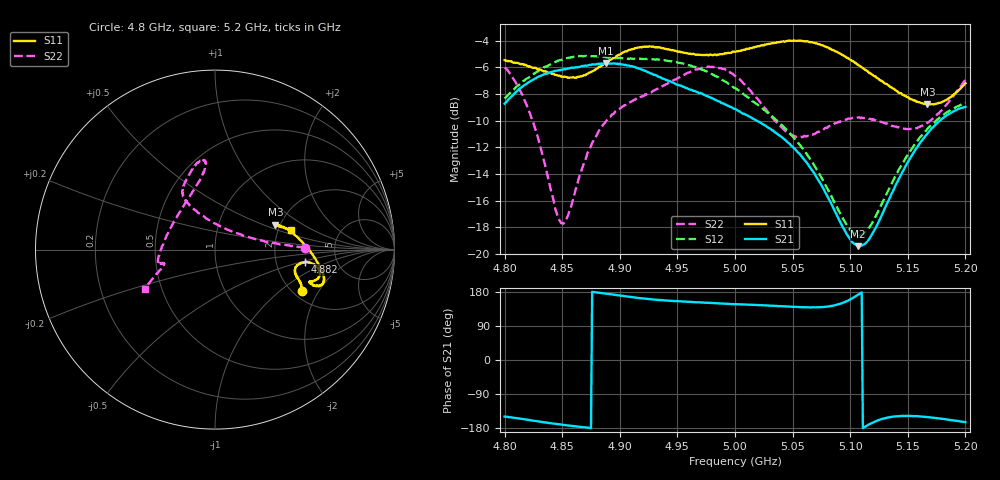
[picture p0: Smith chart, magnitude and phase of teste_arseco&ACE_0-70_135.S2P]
! Network Analyzer HP8722D
! Hewlett-Packard
! Data name: Linha & Wilkinson
! Saver's name: Rodrigo Anjos
! Comments: Teste da utilização de aquisição
! continua pelo VNA HP8722D
! Time and date: 8/5/2025 13:53
!  Frequency  S11  S21  S12  S22
# HZ  S  MA R 50
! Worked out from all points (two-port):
!   401 points, 4.8 GHz to 5.2 GHz, reference 50 ohm
!   highest |S21| = -5.67 dB at 4.888 GHz (marker M1); lowest = -19.4 dB at 5.107 GHz (marker M2)
!   |S21| within 3 dB of the highest: 4.801 GHz to 4.988 GHz (187.4 MHz wide, 3.83 % of centre)
!   lowest |S11| = -8.8 dB at 5.167 GHz (marker M3), VSWR 2.15, Z = 94.5 + j30.2 ohm
!   |S11| at or under -10 dB: nowhere
!   |S22| runs from -17.7 to -5.9 dB; largest |S21 - S12| = 1.1
!   S11 on the Smith chart (normalised r, x): 4.8 GHz: 2.23, -1.43; 4.882 GHz: 2.92, -0.54; 5.2 GHz: 2.34, +0.64
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4.8e9  0.534 -25.4  0.3663 -149.3  0.3833 10.1  0.5009 1.3
4.811e9  0.5217 -22.7  0.4094 -153.8  0.4262 8.5  0.4299 2.7
4.823e9  0.5027 -20.6  0.4469 -159.2  0.4653 7.0  0.3274 6.3
4.845e9  0.4696 -16.7  0.4874 -169.0  0.5273 3.4  0.1434 42.6
4.849e9  0.4628 -16.0  0.4915 -170.5  0.5346 2.7  0.1306 59.5
4.855e9  0.4586 -14.3  0.4965 -172.8  0.5447 1.7  0.1393 85.1
4.867e9  0.4648 -10.9  0.5075 -176.8  0.5528 -0.1  0.2072 111.7
4.882e9  0.5046 -7.9  0.518 177.6  0.5526 -1.2  0.2908 119.9
4.888e9  0.5221 -7.8  0.5208 175.2  0.5466 -1.3  0.3143 120.8
4.911e9  0.5872 -10.6  0.5061 165.8  0.5405 -0.7  0.3754 119.0
4.934e9  0.5961 -15.7  0.4618 158.0  0.5368 -1.7  0.418 112.6
4.975e9  0.5581 -18.7  0.3927 150.9  0.4857 -5.4  0.5036 98.8
5e9  0.574 -19.6  0.3498 147.2  0.4198 -5.5  0.4658 96.5
5.044e9  0.6278 -17.7  0.267 141.3  0.2943 2.8  0.2888 131.6
5.067e9  0.6229 -13.5  0.2059 139.0  0.2216 9.3  0.2806 164.6
5.096e9  0.5494 -3.7  0.1208 153.8  0.1308 34.2  0.3194 -171.5
5.107e9  0.5123 1.6  0.107 172.6  0.1173 55.2  0.3256 -167.7
5.117e9  0.4767 6.5  0.1147 -168.9  0.1264 75.0  0.3214 -166.4
5.134e9  0.4265 14.7  0.1612 -151.0  0.1765 94.7  0.3046 -165.9
5.167e9  0.3643 22.4  0.2831 -150.7  0.2946 102.1  0.3108 -161.4
5.183e9  0.3776 20.1  0.3293 -156.6  0.3381 102.1  0.3618 -156.6
5.2e9  0.437 14.7  0.3563 -164.0  0.3696 102.5  0.4494 -150.8
